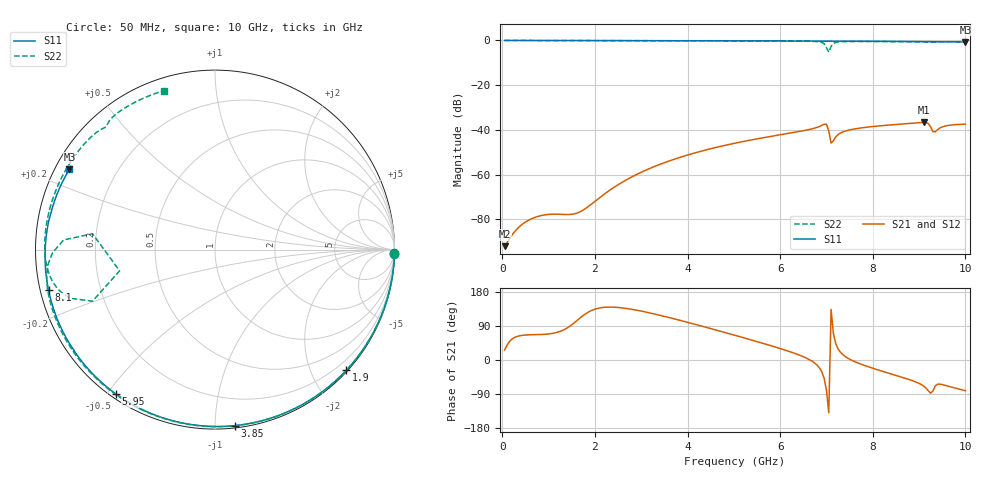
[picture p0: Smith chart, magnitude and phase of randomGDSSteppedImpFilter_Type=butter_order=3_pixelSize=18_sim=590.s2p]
! freq	dB(S11)	phase(S11)	dB(S12)	phase(S12)
!  dB(S21)	phase(S21)	dB(S22)	phase(S22)
!S-par simulation data
#  GHz  S  DB  R 50
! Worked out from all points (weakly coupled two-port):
!   200 points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, 50 MHz to 10 GHz, reference 50 ohm
!   highest |S21| = -36.62 dB at 9.1 GHz (marker M1); lowest = -92.0 dB at 50 MHz (marker M2)
!   lowest |S11| = -0.7 dB at 10 GHz (marker M3), VSWR 26.12, Z = 2.04 + j12.9 ohm
!   |S11| at or under -10 dB: nowhere
!   |S22| runs from -5.3 to 0.0 dB; largest |S21 - S12| = 0
!   S11 on the Smith chart (normalised r, x): 50 MHz: open; 1.9 GHz: 0.02, -2.56; 3.85 GHz: 0.01, -1.12; 5.95 GHz: 0.02, -0.53; 8.1 GHz: 0.02, -0.12; 10 GHz: 0.04, +0.26
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0.05  -0.00 -1.1  -91.98 26.2  -91.98 26.2  -0.00 -1.4
0.85  -0.02 -19.3  -78.24 67.3  -78.24 67.3  -0.03 -23.1
1.75  -0.05 -39.3  -75.79 117.7  -75.79 117.7  -0.06 -46.9
1.9  -0.05 -42.6  -73.59 129.1  -73.59 129.1  -0.06 -50.7
2.6  -0.07 -57.7  -63.26 137.4  -63.26 137.4  -0.09 -68.5
3.4  -0.10 -74.3  -55.43 118.1  -55.43 118.1  -0.11 -88.1
3.85  -0.11 -83.5  -52.18 104.3  -52.18 104.3  -0.13 -98.8
5.05  -0.16 -107.1  -45.82 64.3  -45.82 64.3  -0.19 -126.7
5.95  -0.22 -124.4  -42.35 32.2  -42.35 32.2  -0.25 -147.8
6.7  -0.27 -138.7  -39.45 -4.0  -39.45 -4.0  -0.40 -168.4
6.9  -0.29 -142.6  -37.98 -31.3  -37.98 -31.3  -0.86 -178.9
7  -0.30 -144.5  -37.44 -79.7  -37.44 -79.7  -3.25 172.6
7.05  -0.31 -145.5  -40.49 -139.4  -40.49 -139.4  -5.28 -167.5
7.1  -0.31 -146.4  -45.90 133.6  -45.90 133.6  -2.61 -157.2
7.25  -0.32 -149.3  -42.08 29.5  -42.08 29.5  -0.70 -168.9
8.1  -0.40 -166.3  -38.28 -25.7  -38.28 -25.7  -0.47 163.8
8.35  -0.43 -171.5  -37.82 -35.1  -37.82 -35.1  -0.49 156.9
9.1  -0.53 172.3  -36.62 -69.0  -36.62 -69.0  -0.65 135.2
9.2  -0.54 170.0  -37.18 -81.4  -37.18 -81.4  -0.74 132.5
9.3  -0.57 167.8  -40.80 -81.5  -40.80 -81.5  -0.72 130.6
9.55  -0.60 162.0  -38.33 -66.5  -38.33 -66.5  -0.58 122.4
10  -0.67 151.1  -37.42 -80.8  -37.42 -80.8  -0.63 107.7
